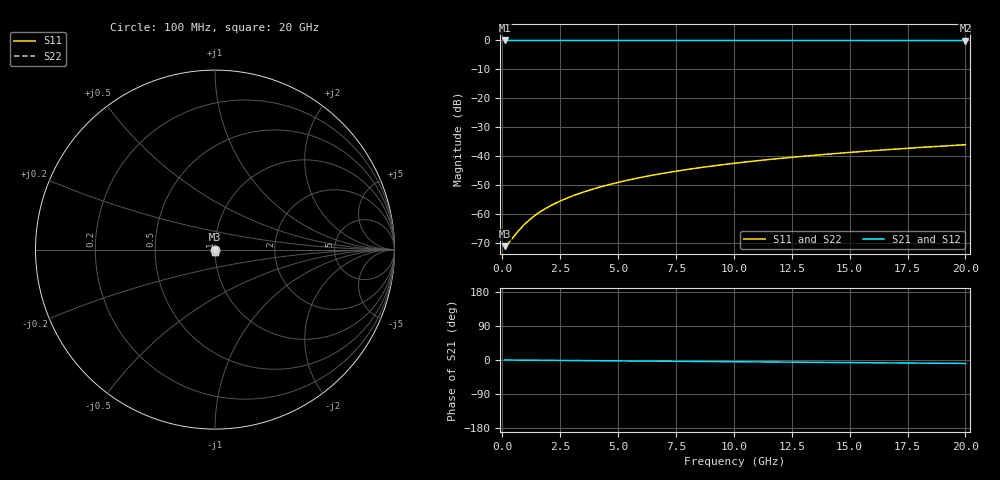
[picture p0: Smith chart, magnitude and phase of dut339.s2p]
! Touchstone file exported from HFSS 2026.1.0
!  File:  C:/ffzhzh/LocalFiles/Ansys_Project_Files/temp_train_TSV_339_1783018760_53980.aedt
!  Generated:  03:01:31 AM Jul  3, 2026
!  Design:  TSV
!  Project:  temp_train_TSV_339_1783018760_53980
! Variables:
!  h_bsmrdl = 2um
!  h_ox = 20um
!  h_rdl = 5um
!  h_sub = 97.48um
!  h_tmrdl = 5um
!  h_tsv = 97.48um
!  h_via = 3um
!  l_bsmrdl = 300um
!  l_sub = 413.74um
!  l_tmrdl = 200um
!  m_sub = 200um
!  pitch = 25.45um
!  r_tsv = 6.87um
!  s_tmrdl = 10um
!  w_bsmrdl = 18um
!  w_sub = 500um
!  w_tmrdl = 12um
!  x_tsv_center1 = 206um
!  x_tsv_center2 = 524um
!  x_tsv_center3 = 736um
!  x_tsv_center4 = 1054um
!  x_tsv_center5 = 1266um
!  x_tsv_center6 = 1584um
# GHz S MA R 50.000000
! Terminal data exported
! Port[1] = TSV1_1_T1
! Port[2] = TSV1_1_T2
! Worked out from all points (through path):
!   200 points, 100 MHz to 20 GHz, reference 50 ohm
!   highest |S21| = 0.00 dB at 100 MHz (marker M1); lowest = 0.0 dB at 20 GHz (marker M2)
!   group delay of S21, straight-line fit = 1.26 ps
!   lowest |S11| = -71.0 dB at 100 MHz (marker M3), VSWR 1.00, Z = 50 - j0.00151 ohm
!   |S11| at or under -10 dB: start of sweep to end of sweep
!   |S22| runs from -71.0 to -36.0 dB; largest |S21 - S12| = 2.6e-15
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0.1  0.000282 -3.1  0.9997 -0.0  0.9997 -0.0  0.000282 -3.1
! Gamma 0 0 0 0
! Port Impedance 50 0 50 0
0.2  0.0003013 -6.6  0.9997 -0.1  0.9997 -0.1  0.0003013 -6.6
0.3  0.0003315 -10.7  0.9997 -0.1  0.9997 -0.1  0.0003315 -10.7
0.7  0.00052 -28.9  0.9995 -0.3  0.9995 -0.3  0.00052 -28.9
0.9  0.0006357 -36.6  0.9995 -0.4  0.9995 -0.4  0.0006357 -36.6
1.2  0.0008211 -45.5  0.9994 -0.6  0.9994 -0.6  0.0008211 -45.5
1.5  0.001015 -52.0  0.9994 -0.7  0.9994 -0.7  0.001015 -52.0
1.9  0.001281 -58.1  0.9993 -0.9  0.9993 -0.9  0.001281 -58.1
2.4  0.001625 -63.2  0.9992 -1.1  0.9992 -1.1  0.001625 -63.2
2.9  0.001979 -66.7  0.9992 -1.3  0.9992 -1.3  0.001979 -66.7
3.5  0.002416 -69.7  0.9991 -1.6  0.9991 -1.6  0.002416 -69.7
4.2  0.00294 -72.3  0.999 -1.9  0.999 -1.9  0.00294 -72.3
5  0.003555 -74.5  0.9989 -2.3  0.9989 -2.3  0.003555 -74.5
5.9  0.004261 -76.5  0.9988 -2.7  0.9988 -2.7  0.004261 -76.5
6.8  0.004979 -78.2  0.9987 -3.1  0.9987 -3.1  0.004979 -78.2
8.3  0.006191 -80.6  0.9986 -3.8  0.9986 -3.8  0.006191 -80.6
10.1  0.007659 -82.9  0.9984 -4.6  0.9984 -4.6  0.00766 -82.9
11.7  0.008973 -84.6  0.9983 -5.3  0.9983 -5.3  0.008973 -84.6
13.4  0.01037 -86.2  0.9982 -6.1  0.9982 -6.1  0.01037 -86.2
15  0.0117 -87.6  0.9981 -6.8  0.9981 -6.8  0.0117 -87.6
16.7  0.01312 -88.9  0.9979 -7.6  0.9979 -7.6  0.01312 -88.9
20  0.01589 -91.1  0.9977 -9.1  0.9977 -9.1  0.01589 -91.1
